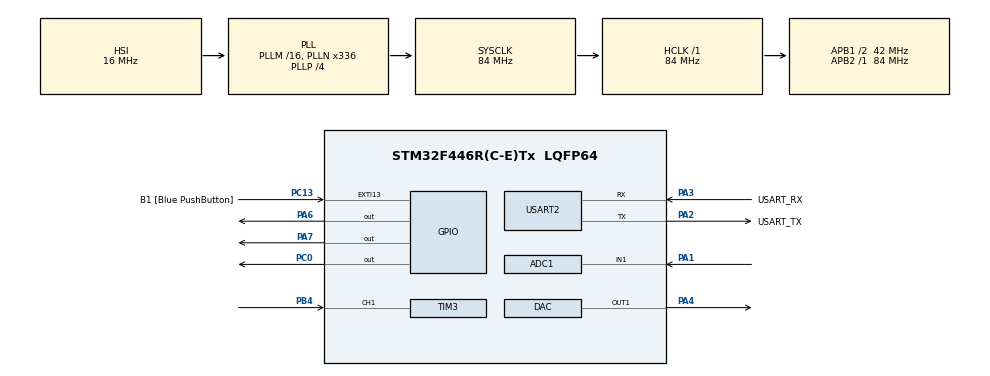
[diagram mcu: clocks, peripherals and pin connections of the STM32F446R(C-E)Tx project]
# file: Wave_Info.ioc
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ADC1.Channel-8\#ChannelRegularConversion=ADC_CHANNEL_1
ADC1.NbrOfConversionFlag=1
ADC1.Rank-8\#ChannelRegularConversion=1
ADC1.SamplingTime-8\#ChannelRegularConversion=ADC_SAMPLETIME_3CYCLES
ADC1.master=1
DAC.DAC_Trigger=DAC_TRIGGER_T2_TRGO
Dma.DAC1.0.Direction=DMA_MEMORY_TO_PERIPH
Dma.DAC1.0.FIFOMode=DMA_FIFOMODE_DISABLE
Dma.DAC1.0.Instance=DMA1_Stream5
Dma.DAC1.0.MemDataAlignment=DMA_MDATAALIGN_HALFWORD
Dma.DAC1.0.MemInc=DMA_MINC_ENABLE
Dma.DAC1.0.Mode=DMA_CIRCULAR
Dma.DAC1.0.PeriphDataAlignment=DMA_PDATAALIGN_HALFWORD
Dma.DAC1.0.PeriphInc=DMA_PINC_DISABLE
Dma.DAC1.0.Priority=DMA_PRIORITY_LOW
Dma.Request0=DAC1
Mcu.Family=STM32F4
Mcu.Name=STM32F446R(C-E)Tx
Mcu.Package=LQFP64
NVIC.DMA1_Stream5_IRQn=true\:0\:0\:false\:false\:true\:false\:true\:true
NVIC.PriorityGroup=NVIC_PRIORITYGROUP_0
NVIC.TIM3_IRQn=true\:0\:0\:false\:false\:true\:true\:true\:true
PA1.Signal=ADCx_IN1
PA13.GPIO_Label=TMS
PA13.Mode=Serial_Wire
PA13.Signal=SYS_JTMS-SWDIO
PA14.GPIO_Label=TCK
PA14.Mode=Serial_Wire
PA14.Signal=SYS_JTCK-SWCLK
PA2.GPIO_Label=USART_TX
PA2.Mode=Asynchronous
PA2.Signal=USART2_TX
PA3.GPIO_Label=USART_RX
PA3.Mode=Asynchronous
PA3.Signal=USART2_RX
PA4.Signal=COMP_DAC1_group
PA5.Signal=COMP_DAC2_group
PA6.Signal=GPIO_Output
PA7.Signal=GPIO_Output
PB3.GPIO_Label=SWO
PB3.Signal=SYS_JTDO-SWO
PB4.Signal=S_TIM3_CH1
PC0.Signal=GPIO_Output
PC13.GPIO_Label=B1 [Blue PushButton]
PC13.GPIO_ModeDefaultEXTI=GPIO_MODE_IT_FALLING
PC13.Signal=GPXTI13
PC14-OSC32_IN.Mode=LSE-External-Oscillator
PC14-OSC32_IN.Signal=RCC_OSC32_IN
PC15-OSC32_OUT.Mode=LSE-External-Oscillator
PC15-OSC32_OUT.Signal=RCC_OSC32_OUT
PH0-OSC_IN.Mode=HSE-External-Oscillator
PH0-OSC_IN.Signal=RCC_OSC_IN
PH1-OSC_OUT.Mode=HSE-External-Oscillator
PH1-OSC_OUT.Signal=RCC_OSC_OUT
ProjectManager.HeapSize=0x200
ProjectManager.StackSize=0x400
ProjectManager.TargetToolchain=STM32CubeIDE
RCC.48MHZClocksFreq_Value=84000000
RCC.AHBFreq_Value=84000000
RCC.APB1CLKDivider=RCC_HCLK_DIV2
RCC.APB1Freq_Value=42000000
RCC.APB1TimFreq_Value=84000000
RCC.APB2Freq_Value=84000000
RCC.APB2TimFreq_Value=84000000
RCC.CortexFreq_Value=84000000
RCC.FLatency-AdvancedSettings=FLASH_LATENCY_2
RCC.HCLKFreq_Value=84000000
RCC.HSE_VALUE=8000000
RCC.HSI_VALUE=16000000
RCC.PLLN=336
RCC.PLLP=RCC_PLLP_DIV4
RCC.SYSCLKFreq_VALUE=84000000
RCC.SYSCLKSource=RCC_SYSCLKSOURCE_PLLCLK
RCC.USBFreq_Value=168000000
RCC.VCOOutputFreq_Value=336000000
SH.ADCx_IN1.0=ADC1_IN1,IN1
SH.COMP_DAC1_group.0=DAC_OUT1,DAC_OUT1
SH.COMP_DAC2_group.0=DAC_OUT2
SH.S_TIM3_CH1.0=TIM3_CH1,Input_Capture1_from_TI1
TIM1.Prescaler=84-1
TIM2.Period=100-1
TIM2.Prescaler=84-1
TIM2.TIM_MasterOutputTrigger=TIM_TRGO_UPDATE
TIM3.Channel-Input_Capture1_from_TI1=TIM_CHANNEL_1
USART2.VirtualMode=VM_ASYNC
VP_TIM1_VS_ClockSourceINT.Mode=Internal
VP_TIM2_VS_ClockSourceINT.Mode=Internal
VP_TIM3_VS_ClockSourceINT.Mode=Internal
board=NUCLEO-F446RE

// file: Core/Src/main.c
/* USER CODE BEGIN Header */
/**
  ******************************************************************************
  * @file           : main.c
  * @brief          : Main program body
  ******************************************************************************
  * @attention
  *
  * Copyright (c) 2025 STMicroelectronics.
  * All rights reserved.
  *
  * This software is licensed under terms that can be found in the LICENSE file
  * in the root directory of this software component.
  * If no LICENSE file comes with this software, it is provided AS-IS.
  *
  ******************************************************************************
  */
/* USER CODE END Header */
#include "main.h"

/* USER CODE BEGIN Includes */

#include "Wav_func.h"

typedef struct
{
	float peak;
	float rms;
	float frequency;
	float period;

}signal;

/* USER CODE END Includes */

/* USER CODE BEGIN PTD */

uint32_t IC_VAL1=0;
uint32_t IC_VAL2=0;
uint32_t diff=0;
uint8_t is_Fist=0;
float frequency=0;
unsigned short counts[2];
unsigned char index_test=0;
void HAL_TIM_IC_CaptureCallback(TIM_HandleTypeDef *htim)
{

	frequency=0;
	if(htim->Channel == HAL_TIM_ACTIVE_CHANNEL_1)
	{
		if(is_Fist== 0)
		{
			IC_VAL1= HAL_TIM_ReadCapturedValue(htim, TIM_CHANNEL_1);
			is_Fist=1;
		}
		else
		{
			IC_VAL2 = HAL_TIM_ReadCapturedValue(htim, TIM_CHANNEL_1);
			if(IC_VAL2> IC_VAL1)
			{
				diff  = IC_VAL2-IC_VAL1;
			}else if(IC_VAL1>IC_VAL2)
			{
				diff = (0xffff-IC_VAL1)+ IC_VAL2;
			}
			float refClock = TIMCLOCK/(PRESCALAR);
			frequency = refClock/diff;
			__HAL_TIM_SET_COUNTER(htim,0);
			is_Fist=0;
		}
	}

}

/* USER CODE END PTD */

ADC_HandleTypeDef hadc1;

DAC_HandleTypeDef hdac;
DMA_HandleTypeDef hdma_dac1;

TIM_HandleTypeDef htim1;
TIM_HandleTypeDef htim2;
TIM_HandleTypeDef htim3;

UART_HandleTypeDef huart2;

void SystemClock_Config(void);
static void MX_GPIO_Init(void);
static void MX_DMA_Init(void);
static void MX_USART2_UART_Init(void);
static void MX_DAC_Init(void);
static void MX_TIM2_Init(void);
static void MX_TIM1_Init(void);
static void MX_ADC1_Init(void);
static void MX_TIM3_Init(void);

int main(void)
{

  /* MCU Configuration--------------------------------------------------------*/

  /* Reset of all peripherals, Initializes the Flash interface and the Systick. */
  HAL_Init();

  /* Configure the system clock */
  SystemClock_Config();

  /* Initialize all configured peripherals */
  MX_GPIO_Init();
  MX_DMA_Init();
  MX_USART2_UART_Init();
  MX_DAC_Init();
  MX_TIM2_Init();
  MX_TIM1_Init();
  MX_ADC1_Init();
  MX_TIM3_Init();
  /* USER CODE BEGIN 2 */
  uint32_t sine_value[SINOID_SIZE];
  set_sinoid(sine_value,SINOID_SIZE);
  HAL_TIM_Base_Start(&htim1);
  HAL_TIM_Base_Start(&htim2);
  HAL_TIM_IC_Start_IT(&htim3,TIM_CHANNEL_1);
  HAL_DAC_Start_DMA(&hdac, DAC_CHANNEL_1, sine_value,SINOID_SIZE, DAC_ALIGN_12B_R);
  HAL_ADC_Init(&hadc1);

  /* USER CODE END 2 */

  /* Infinite loop */
  while (1)
  {

    /* USER CODE BEGIN 3 */
	  	uint32_t buffer[SAMPLES];
	  	float convValue[SAMPLES];
	  	signal F_Signal;
	  F_Signal.frequency=  frequency;
	  get_sinoid(buffer, convValue,&hadc1, SAMPLES);
	  F_Signal.peak=find_amp(convValue, SAMPLES);
	  //print_F32_arr(convValue, SAMPLES);
	  F_Signal.rms= get_rms(F_Signal.peak);

	  printf("Peak: %.2f\n\r",F_Signal.peak);
	  printf("RMS: %.2f\n\r",F_Signal.rms);
	  printf("Freq: %.2f\n\r",frequency);

	  HAL_Delay(2000);

  }
  /* USER CODE END 3 */
}

void SystemClock_Config(void)
{
  RCC_OscInitTypeDef RCC_OscInitStruct = {0};
  RCC_ClkInitTypeDef RCC_ClkInitStruct = {0};

  /** Configure the main internal regulator output voltage
  */
  __HAL_RCC_PWR_CLK_ENABLE();
  __HAL_PWR_VOLTAGESCALING_CONFIG(PWR_REGULATOR_VOLTAGE_SCALE3);

  /** Initializes the RCC Oscillators according to the specified parameters
  * in the RCC_OscInitTypeDef structure.
  */
  RCC_OscInitStruct.OscillatorType = RCC_OSCILLATORTYPE_HSI;
  RCC_OscInitStruct.HSIState = RCC_HSI_ON;
  RCC_OscInitStruct.HSICalibrationValue = RCC_HSICALIBRATION_DEFAULT;
  RCC_OscInitStruct.PLL.PLLState = RCC_PLL_ON;
  RCC_OscInitStruct.PLL.PLLSource = RCC_PLLSOURCE_HSI;
  RCC_OscInitStruct.PLL.PLLM = 16;
  RCC_OscInitStruct.PLL.PLLN = 336;
  RCC_OscInitStruct.PLL.PLLP = RCC_PLLP_DIV4;
  RCC_OscInitStruct.PLL.PLLQ = 2;
  RCC_OscInitStruct.PLL.PLLR = 2;
  if (HAL_RCC_OscConfig(&RCC_OscInitStruct) != HAL_OK)
  {
    Error_Handler();
  }

  /** Initializes the CPU, AHB and APB buses clocks
  */
  RCC_ClkInitStruct.ClockType = RCC_CLOCKTYPE_HCLK|RCC_CLOCKTYPE_SYSCLK
                              |RCC_CLOCKTYPE_PCLK1|RCC_CLOCKTYPE_PCLK2;
  RCC_ClkInitStruct.SYSCLKSource = RCC_SYSCLKSOURCE_PLLCLK;
  RCC_ClkInitStruct.AHBCLKDivider = RCC_SYSCLK_DIV1;
  RCC_ClkInitStruct.APB1CLKDivider = RCC_HCLK_DIV2;
  RCC_ClkInitStruct.APB2CLKDivider = RCC_HCLK_DIV1;

  if (HAL_RCC_ClockConfig(&RCC_ClkInitStruct, FLASH_LATENCY_2) != HAL_OK)
  {
    Error_Handler();
  }
}

static void MX_ADC1_Init(void)
{

  ADC_ChannelConfTypeDef sConfig = {0};

  /** Configure the global features of the ADC (Clock, Resolution, Data Alignment and number of conversion)
  */
  hadc1.Instance = ADC1;
  hadc1.Init.ClockPrescaler = ADC_CLOCK_SYNC_PCLK_DIV4;
  hadc1.Init.Resolution = ADC_RESOLUTION_12B;
  hadc1.Init.ScanConvMode = DISABLE;
  hadc1.Init.ContinuousConvMode = DISABLE;
  hadc1.Init.DiscontinuousConvMode = DISABLE;
  hadc1.Init.ExternalTrigConvEdge = ADC_EXTERNALTRIGCONVEDGE_NONE;
  hadc1.Init.ExternalTrigConv = ADC_SOFTWARE_START;
  hadc1.Init.DataAlign = ADC_DATAALIGN_RIGHT;
  hadc1.Init.NbrOfConversion = 1;
  hadc1.Init.DMAContinuousRequests = DISABLE;
  hadc1.Init.EOCSelection = ADC_EOC_SINGLE_CONV;
  if (HAL_ADC_Init(&hadc1) != HAL_OK)
  {
    Error_Handler();
  }

  /** Configure for the selected ADC regular channel its corresponding rank in the sequencer and its sample time.
  */
  sConfig.Channel = ADC_CHANNEL_1;
  sConfig.Rank = 1;
  sConfig.SamplingTime = ADC_SAMPLETIME_3CYCLES;
  if (HAL_ADC_ConfigChannel(&hadc1, &sConfig) != HAL_OK)
  {
    Error_Handler();
  }

}

static void MX_DAC_Init(void)
{

  DAC_ChannelConfTypeDef sConfig = {0};

  /** DAC Initialization
  */
  hdac.Instance = DAC;
  if (HAL_DAC_Init(&hdac) != HAL_OK)
  {
    Error_Handler();
  }

  /** DAC channel OUT1 config
  */
  sConfig.DAC_Trigger = DAC_TRIGGER_T2_TRGO;
  sConfig.DAC_OutputBuffer = DAC_OUTPUTBUFFER_ENABLE;
  if (HAL_DAC_ConfigChannel(&hdac, &sConfig, DAC_CHANNEL_1) != HAL_OK)
  {
    Error_Handler();
  }

}

static void MX_TIM1_Init(void)
{

  TIM_ClockConfigTypeDef sClockSourceConfig = {0};
  TIM_MasterConfigTypeDef sMasterConfig = {0};

  htim1.Instance = TIM1;
  htim1.Init.Prescaler = 84-1;
  htim1.Init.CounterMode = TIM_COUNTERMODE_UP;
  htim1.Init.Period = 65535;
  htim1.Init.ClockDivision = TIM_CLOCKDIVISION_DIV1;
  htim1.Init.RepetitionCounter = 0;
  htim1.Init.AutoReloadPreload = TIM_AUTORELOAD_PRELOAD_DISABLE;
  if (HAL_TIM_Base_Init(&htim1) != HAL_OK)
  {
    Error_Handler();
  }
  sClockSourceConfig.ClockSource = TIM_CLOCKSOURCE_INTERNAL;
  if (HAL_TIM_ConfigClockSource(&htim1, &sClockSourceConfig) != HAL_OK)
  {
    Error_Handler();
  }
  sMasterConfig.MasterOutputTrigger = TIM_TRGO_RESET;
  sMasterConfig.MasterSlaveMode = TIM_MASTERSLAVEMODE_DISABLE;
  if (HAL_TIMEx_MasterConfigSynchronization(&htim1, &sMasterConfig) != HAL_OK)
  {
    Error_Handler();
  }

}

static void MX_TIM2_Init(void)
{

  TIM_ClockConfigTypeDef sClockSourceConfig = {0};
  TIM_MasterConfigTypeDef sMasterConfig = {0};

  htim2.Instance = TIM2;
  htim2.Init.Prescaler = 84-1;
  htim2.Init.CounterMode = TIM_COUNTERMODE_UP;
  htim2.Init.Period = 100-1;
  htim2.Init.ClockDivision = TIM_CLOCKDIVISION_DIV1;
  htim2.Init.AutoReloadPreload = TIM_AUTORELOAD_PRELOAD_DISABLE;
  if (HAL_TIM_Base_Init(&htim2) != HAL_OK)
  {
    Error_Handler();
  }
  sClockSourceConfig.ClockSource = TIM_CLOCKSOURCE_INTERNAL;
  if (HAL_TIM_ConfigClockSource(&htim2, &sClockSourceConfig) != HAL_OK)
  {
    Error_Handler();
  }
  sMasterConfig.MasterOutputTrigger = TIM_TRGO_UPDATE;
  sMasterConfig.MasterSlaveMode = TIM_MASTERSLAVEMODE_DISABLE;
  if (HAL_TIMEx_MasterConfigSynchronization(&htim2, &sMasterConfig) != HAL_OK)
  {
    Error_Handler();
  }

}

static void MX_TIM3_Init(void)
{

  TIM_ClockConfigTypeDef sClockSourceConfig = {0};
  TIM_MasterConfigTypeDef sMasterConfig = {0};
  TIM_IC_InitTypeDef sConfigIC = {0};

  htim3.Instance = TIM3;
  htim3.Init.Prescaler = 0;
  htim3.Init.CounterMode = TIM_COUNTERMODE_UP;
  htim3.Init.Period = 65535;
  htim3.Init.ClockDivision = TIM_CLOCKDIVISION_DIV1;
  htim3.Init.AutoReloadPreload = TIM_AUTORELOAD_PRELOAD_DISABLE;
  if (HAL_TIM_Base_Init(&htim3) != HAL_OK)
  {
    Error_Handler();
  }
  sClockSourceConfig.ClockSource = TIM_CLOCKSOURCE_INTERNAL;
  if (HAL_TIM_ConfigClockSource(&htim3, &sClockSourceConfig) != HAL_OK)
  {
    Error_Handler();
  }
  if (HAL_TIM_IC_Init(&htim3) != HAL_OK)
  {
    Error_Handler();
  }
  sMasterConfig.MasterOutputTrigger = TIM_TRGO_RESET;
  sMasterConfig.MasterSlaveMode = TIM_MASTERSLAVEMODE_DISABLE;
  if (HAL_TIMEx_MasterConfigSynchronization(&htim3, &sMasterConfig) != HAL_OK)
  {
    Error_Handler();
  }
  sConfigIC.ICPolarity = TIM_INPUTCHANNELPOLARITY_RISING;
  sConfigIC.ICSelection = TIM_ICSELECTION_DIRECTTI;
  sConfigIC.ICPrescaler = TIM_ICPSC_DIV1;
  sConfigIC.ICFilter = 0;
  if (HAL_TIM_IC_ConfigChannel(&htim3, &sConfigIC, TIM_CHANNEL_1) != HAL_OK)
  {
    Error_Handler();
  }

}

static void MX_USART2_UART_Init(void)
{

  huart2.Instance = USART2;
  huart2.Init.BaudRate = 115200;
  huart2.Init.WordLength = UART_WORDLENGTH_8B;
  huart2.Init.StopBits = UART_STOPBITS_1;
  huart2.Init.Parity = UART_PARITY_NONE;
  huart2.Init.Mode = UART_MODE_TX_RX;
  huart2.Init.HwFlowCtl = UART_HWCONTROL_NONE;
  huart2.Init.OverSampling = UART_OVERSAMPLING_16;
  if (HAL_UART_Init(&huart2) != HAL_OK)
  {
    Error_Handler();
  }

}

static void MX_DMA_Init(void)
{

  /* DMA controller clock enable */
  __HAL_RCC_DMA1_CLK_ENABLE();

  /* DMA interrupt init */
  /* DMA1_Stream5_IRQn interrupt configuration */
  HAL_NVIC_SetPriority(DMA1_Stream5_IRQn, 0, 0);
  HAL_NVIC_EnableIRQ(DMA1_Stream5_IRQn);

}

static void MX_GPIO_Init(void)
{
  GPIO_InitTypeDef GPIO_InitStruct = {0};

  /* GPIO Ports Clock Enable */
  __HAL_RCC_GPIOC_CLK_ENABLE();
  __HAL_RCC_GPIOH_CLK_ENABLE();
  __HAL_RCC_GPIOA_CLK_ENABLE();
  __HAL_RCC_GPIOB_CLK_ENABLE();

  /*Configure GPIO pin Output Level */
  HAL_GPIO_WritePin(GPIOC, GPIO_PIN_0, GPIO_PIN_RESET);

  /*Configure GPIO pin Output Level */
  HAL_GPIO_WritePin(GPIOA, GPIO_PIN_6|GPIO_PIN_7, GPIO_PIN_RESET);

  /*Configure GPIO pin : B1_Pin */
  GPIO_InitStruct.Pin = B1_Pin;
  GPIO_InitStruct.Mode = GPIO_MODE_IT_FALLING;
  GPIO_InitStruct.Pull = GPIO_NOPULL;
  HAL_GPIO_Init(B1_GPIO_Port, &GPIO_InitStruct);

  /*Configure GPIO pin : PC0 */
  GPIO_InitStruct.Pin = GPIO_PIN_0;
  GPIO_InitStruct.Mode = GPIO_MODE_OUTPUT_PP;
  GPIO_InitStruct.Pull = GPIO_NOPULL;
  GPIO_InitStruct.Speed = GPIO_SPEED_FREQ_LOW;
  HAL_GPIO_Init(GPIOC, &GPIO_InitStruct);

  /*Configure GPIO pins : PA6 PA7 */
  GPIO_InitStruct.Pin = GPIO_PIN_6|GPIO_PIN_7;
  GPIO_InitStruct.Mode = GPIO_MODE_OUTPUT_PP;
  GPIO_InitStruct.Pull = GPIO_NOPULL;
  GPIO_InitStruct.Speed = GPIO_SPEED_FREQ_LOW;
  HAL_GPIO_Init(GPIOA, &GPIO_InitStruct);

}

/* USER CODE BEGIN 4 */
int _write(int file, char *data, int len)
{
    HAL_UART_Transmit(&huart2, (uint8_t*)data, len, HAL_MAX_DELAY);
    return len;
}

/* USER CODE END 4 */

void Error_Handler(void)
{
  __disable_irq();
  while (1)
  {
  }
}
